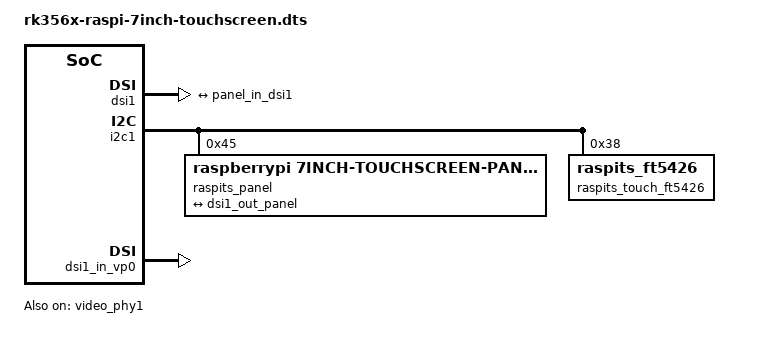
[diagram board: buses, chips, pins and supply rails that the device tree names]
/dts-v1/;
/plugin/;

#include <dt-bindings/display/rockchip_vop.h>

/ {
	fragment@0 {
		target = <&dsi1>;

		__overlay__ {
			status = "okay";

			ports {
				port@1 {
					reg = <1>;

					dsi1_out_panel: endpoint {
						remote-endpoint = <&panel_in_dsi1>;
					};
				};
			};
		};
	};

	fragment@1 {
		target = <&i2c1>;

		__overlay__ {

			status = "okay";

			raspits_panel: raspits-panel@45 {
				compatible = "raspberrypi,7inch-touchscreen-panel";
				reg = <0x45>;

				port {
					panel_in_dsi1: endpoint {
						remote-endpoint = <&dsi1_out_panel>;
					};
				};
			};

			raspits_touch_ft5426: raspits-touch-ft5426@38 {
				compatible = "raspits_ft5426";
				reg = <0x38>;
			};
		};
	};

	fragment@2 {
		target = <&video_phy1>;

		__overlay__ {
			status = "okay";
		};
	};

	fragment@3 {
		target = <&dsi1_in_vp0>;

		__overlay__ {
			status = "okay";
		};
	};

	fragment@4 {
		target = <&dsi1_in_vp1>;

		__overlay__ {
			status = "disabled";
		};
	};

	fragment@5 {
		target = <&route_dsi1>;

		__overlay__ {
			status = "disabled";
		};
	};

	fragment@6 {
		target = <&hdmi>;
		__overlay__ {
			status = "disabled";
		};
	};

//	fragment@6 {
//		target = <&vp0>;
//		__overlay__ {
//			rockchip,plane-mask = <(1 << ROCKCHIP_VOP2_CLUSTER1 | 1 << ROCKCHIP_VOP2_ESMART1 | 1 <<
//			ROCKCHIP_VOP2_SMART1)>;
//			rockchip,primary-plane = <ROCKCHIP_VOP2_SMART1>;
//			cursor-win-id = <ROCKCHIP_VOP2_CLUSTER1>;
//		};
//	};
//
//	fragment@7 {
//		target = <&vp1>;
//		__overlay__ {
//			rockchip,plane-mask = <(1 << ROCKCHIP_VOP2_CLUSTER0 | 1 << ROCKCHIP_VOP2_ESMART0 | 1 <<
//			ROCKCHIP_VOP2_SMART0)>;
//			rockchip,primary-plane = <ROCKCHIP_VOP2_SMART0>;
//			cursor-win-id = <ROCKCHIP_VOP2_CLUSTER0>;
//		};
//	};
};
